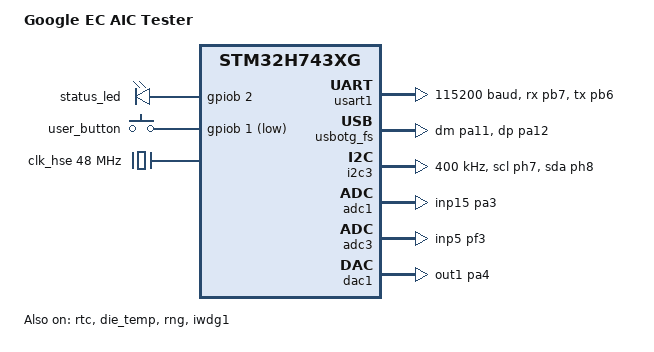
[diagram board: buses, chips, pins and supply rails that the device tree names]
/* Copyright 2024 The ChromiumOS Authors
 * Use of this source code is governed by a BSD-style license that can be
 * found in the LICENSE file.
 */

/dts-v1/;
#include <st/h7/stm32h743Xg.dtsi>
#include <st/h7/stm32h743bgtx-pinctrl.dtsi>
#include <zephyr/dt-bindings/input/input-event-codes.h>

/ {
	model = "Google EC AIC Tester";
	compatible = "google,ec-aic-tester";

	chosen {
		/* change to &usart1 to move the shell to J3/J4 */
		zephyr,console = &cdc_acm_uart_shell;
		zephyr,shell-uart = &cdc_acm_uart_shell;
		zephyr,sram = &sram0;
		zephyr,flash = &flash0;
		zephyr,dtcm = &dtcm;
	};

	leds {
		compatible = "gpio-leds";
		status_led: mcu_pb02 {
			gpios = <&gpiob 2 GPIO_ACTIVE_HIGH>;
		};
	};

	gpio_keys {
		compatible = "gpio-keys";
		user_button: mcu_pb01 {
			gpios = <&gpiob 1 GPIO_ACTIVE_LOW>;
			zephyr,code = <INPUT_KEY_0>;
		};
	};

	aliases {
		led0 = &status_led;
		sw0 = &user_button;
		watchdog0 = &iwdg;
		die-temp0 = &die_temp;
	};
};

&clk_lsi {
	status = "okay";
};

&clk_hsi48 {
	status = "okay";
};

&clk_hse {
	clock-frequency = <DT_FREQ_M(48)>;
	status = "okay";
};

&pll {
	div-m = <12>;
	mul-n = <240>;
	div-p = <2>;
	div-q = <2>;
	div-r = <2>;
	clocks = <&clk_hse>;
	status = "okay";
};

&pll2 {
	div-m = <24>;
	mul-n = <120>;
	div-p = <2>;
	div-q = <3>;
	div-r = <2>;
	clocks = <&clk_hse>;
	status = "okay";
};

&rcc {
	clocks = <&pll>;
	clock-frequency = <DT_FREQ_M(480)>;
	d1cpre = <1>;
	hpre = <2>;
	d1ppre = <2>;
	d2ppre1 = <2>;
	d2ppre2 = <2>;
	d3ppre = <2>;
};

&usart1 {
	pinctrl-0 = <&usart1_rx_pb7 &usart1_tx_pb6>;
	pinctrl-names = "default";
	current-speed = <115200>;
	status = "okay";
};

zephyr_udc0: &usbotg_fs {
	pinctrl-0 = <&usb_otg_fs_dm_pa11 &usb_otg_fs_dp_pa12>;
	pinctrl-names = "default";
	status = "okay";

	cdc_acm_uart_shell: cdc_acm_uart_shell {
		compatible = "zephyr,cdc-acm-uart";
	};
	cdc_acm_uart_ec: cdc_acm_uart_ec {
		compatible = "zephyr,cdc-acm-uart";
	};
};

&rtc {
	clocks = <&rcc STM32_CLOCK_BUS_APB4 0x00010000>,
		 <&rcc STM32_SRC_LSI RTC_SEL(2)>;
	status = "okay";
};

&i2c3 {
	pinctrl-0 = <&i2c3_scl_ph7 &i2c3_sda_ph8>;
	pinctrl-names = "default";
	status = "okay";
	clock-frequency = <I2C_BITRATE_FAST>;
};

&adc1 {
	pinctrl-0 = <&adc1_inp15_pa3>;
	pinctrl-names = "default";
	st,adc-clock-source = <SYNC>;
	st,adc-prescaler = <4>;
	status = "okay";
};

&die_temp {
	status = "okay";
};

&adc3 {
	pinctrl-0 = <&adc3_inp5_pf3>;
	pinctrl-names = "default";
	st,adc-clock-source = <SYNC>;
	st,adc-prescaler = <4>;
	status = "okay";
};

&dac1 {
	status = "okay";
	pinctrl-0 = <&dac1_out1_pa4>;
	pinctrl-names = "default";
};

&rng {
	status = "okay";
};

&backup_sram {
	status = "okay";
};

&iwdg1 {
	status = "okay";
};
